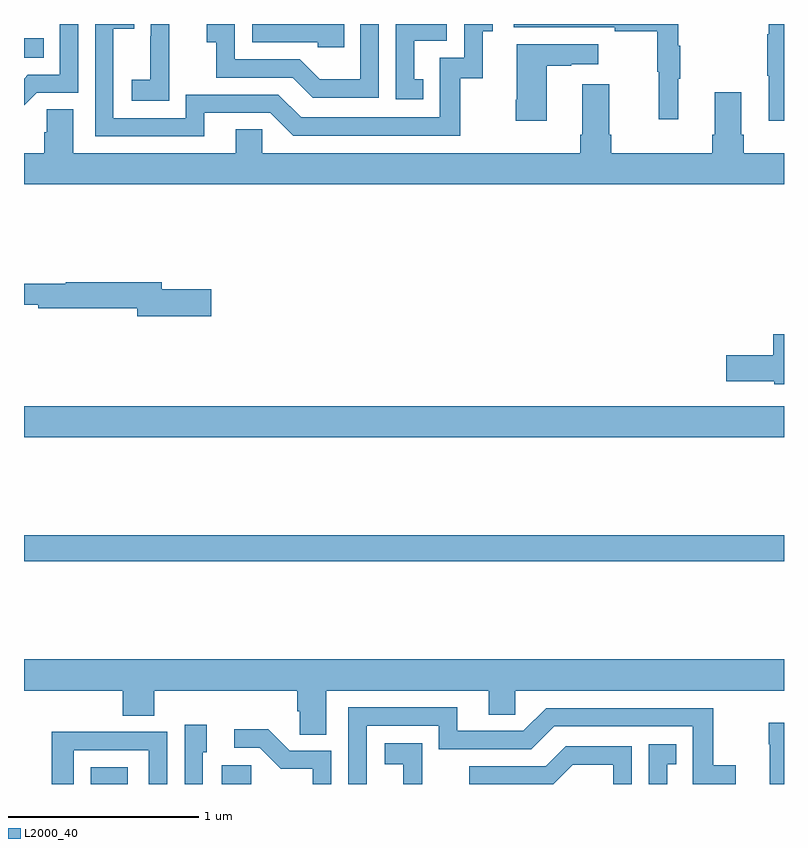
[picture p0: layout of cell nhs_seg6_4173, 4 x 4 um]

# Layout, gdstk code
import gdstk
lib = gdstk.Library(unit=1e-6, precision=1e-09)
def R(c, l, rs):  # rectangles x0, y0, x1, y1
    for r in rs: c.add(gdstk.rectangle(r[:2], r[2:], *l))
def P(c, l, *ps):  # polygons
    for p in ps: c.add(gdstk.Polygon(p, *l))
L2000_40 = (2000, 40)

nhs_seg6_4173 = lib.new_cell('nhs_seg6_4173')
R(nhs_seg6_4173, L2000_40, [(357.35,957.5,357.547,957.589), (358.04,957.5,358.197,957.598), (357,958.672,361,958.808), (357,959.324,361,959.488), (357,961.322,357.104,961.426)])
P(nhs_seg6_4173, L2000_40, [(357.949,961.032),(358.296,961.032),(358.416,960.912),(359.296,960.912),(359.296,961.215),(359.414,961.215),(359.414,961.461),(359.467,961.461),(359.467,961.5),(359.316,961.5),(359.316,961.323),(359.187,961.323),(359.187,961.008),(358.458,961.008),(358.338,961.128),(357.852,961.128),(357.852,961.005),(357.471,961.005),(357.471,961.474),(357.581,961.474),(357.581,961.5),(357.375,961.5),(357.375,960.909),(357.949,960.909)],
  [(358.866,961.5),(358.77,961.5),(358.77,961.21),(358.556,961.21),(358.452,961.314),(358.11,961.314),(358.11,961.5),(357.963,961.5),(357.963,961.403),(358.012,961.403),(358.012,961.218),(358.415,961.218),(358.52,961.113),(358.866,961.113)],
  [(357.066,961.137),(357.285,961.137),(357.285,961.5),(357.189,961.5),(357.189,961.233),(357.02,961.233),(357,961.213),(357,961.072)],
  [(361,961.5),(360.92,961.5),(360.92,961.445),(360.913,961.445),(360.913,961.228),(360.92,961.228),(360.92,960.99),(361,960.99)],
  [(359.102,961.209),(359.053,961.209),(359.053,961.413),(359.226,961.413),(359.226,961.5),(358.956,961.5),(358.956,961.104),(359.102,961.104)],
  [(358.685,961.5),(358.2,961.5),(358.2,961.404),(358.545,961.404),(358.545,961.377),(358.685,961.377)],
  [(357.765,961.303),(357.764,961.303),(357.764,961.5),(357.666,961.5),(357.666,961.436),(357.665,961.436),(357.665,961.207),(357.567,961.207),(357.567,961.097),(357.765,961.097)],
  [(360.443,961.211),(360.454,961.211),(360.454,961.385),(360.443,961.385),(360.443,961.5),(359.577,961.5),(359.577,961.482),(360.109,961.482),(360.109,961.462),(360.333,961.462),(360.333,961.248),(360.34,961.248),(360.34,960.999),(360.443,960.999)],
  [(359.752,961.279),(359.879,961.279),(359.879,961.289),(360.022,961.289),(360.022,961.393),(359.594,961.393),(359.594,961.102),(359.587,961.102),(359.587,960.99),(359.752,960.99)],
  [(361,960.82),(360.788,960.82),(360.788,960.916),(360.775,960.916),(360.775,961.141),(360.635,961.141),(360.635,960.916),(360.623,960.916),(360.623,960.82),(360.092,960.82),(360.092,960.916),(360.079,960.916),(360.079,961.183),(359.939,961.183),(359.939,960.916),(359.927,960.916),(359.927,960.82),(358.254,960.82),(358.254,960.947),(358.115,960.947),(358.115,960.82),(357.259,960.82),(357.259,961.052),(357.12,961.052),(357.12,960.929),(357.107,960.929),(357.107,960.82),(357,960.82),(357,960.656),(361,960.656)],
  [(357.985,960.104),(357.724,960.104),(357.724,960.14),(357.22,960.14),(357.22,960.133),(357,960.133),(357,960.023),(357.076,960.023),(357.076,960.004),(357.596,960.004),(357.596,959.962),(357.985,959.962)],
  [(361,959.866),(360.944,959.866),(360.944,959.756),(360.696,959.756),(360.696,959.621),(360.948,959.621),(360.948,959.603),(361,959.603)],
  [(358.591,957.992),(359.447,957.992),(359.447,957.865),(359.586,957.865),(359.586,957.992),(361,957.992),(361,958.156),(357,958.156),(357,957.992),(357.521,957.992),(357.521,957.859),(357.686,957.859),(357.686,957.992),(358.439,957.992),(358.439,957.883),(358.452,957.883),(358.452,957.76),(358.591,957.76)],
  [(358.803,957.807),(359.184,957.807),(359.184,957.684),(359.67,957.684),(359.79,957.804),(360.519,957.804),(360.519,957.5),(360.746,957.5),(360.746,957.598),(360.628,957.598),(360.628,957.9),(359.748,957.9),(359.628,957.78),(359.281,957.78),(359.281,957.903),(358.707,957.903),(358.707,957.5),(358.803,957.5)],
  [(361,957.823),(360.919,957.823),(360.919,957.71),(360.926,957.71),(360.926,957.5),(361,957.5)],
  [(357.942,957.666),(357.961,957.666),(357.961,957.811),(357.846,957.811),(357.846,957.5),(357.942,957.5)],
  [(358.617,957.675),(358.398,957.675),(358.285,957.788),(358.107,957.788),(358.107,957.69),(358.241,957.69),(358.352,957.579),(358.521,957.579),(358.521,957.5),(358.617,957.5)],
  [(357.261,957.678),(357.657,957.678),(357.657,957.5),(357.753,957.5),(357.753,957.774),(357.437,957.774),(357.437,957.776),(357.145,957.776),(357.145,957.5),(357.261,957.5)],
  [(359.096,957.509),(359.097,957.509),(359.097,957.715),(358.899,957.715),(358.899,957.605),(358.997,957.605),(358.997,957.5),(359.096,957.5)],
  [(360.385,957.603),(360.434,957.603),(360.434,957.709),(360.288,957.709),(360.288,957.5),(360.385,957.5)],
  [(359.888,957.602),(360.102,957.602),(360.102,957.5),(360.198,957.5),(360.198,957.699),(359.852,957.699),(359.747,957.594),(359.344,957.594),(359.344,957.5),(359.786,957.5)])

lib.write_gds('nhs_seg6_4173.gds')
